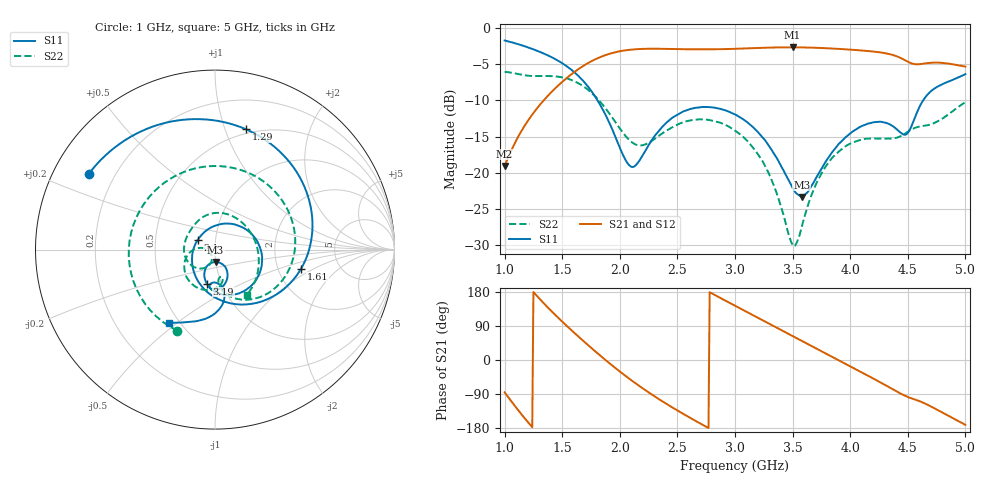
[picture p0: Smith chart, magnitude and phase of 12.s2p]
!Agilent Technologies,N5224A,MY51441093,A.09.90.21
!Agilent N5224A: A.09.90.21
!Date: Wednesday, October 01, 2025 16:39:17
!Correction: S11(Full 2 Port(1,2))
!S21(Full 2 Port(1,2))
!S12(Full 2 Port(1,2))
!S22(Full 2 Port(1,2))
!S2P File: Measurements: S11, S21, S12, S22:
# Hz S  dB  R 50
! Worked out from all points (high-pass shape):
!   401 points, 1 GHz to 5 GHz, reference 50 ohm
!   highest |S21| = -2.67 dB at 3.5 GHz (marker M1); lowest = -19.0 dB at 1 GHz (marker M2)
!   |S21| within 3 dB of the highest: 1.641 GHz to end of sweep
!   lowest |S11| = -23.3 dB at 3.58 GHz (marker M3), VSWR 1.15, Z = 49.8 - j6.83 ohm
!   |S11| at or under -10 dB: 1.807 GHz to 4.633 GHz (2.825 GHz wide, 87.8 % of centre)
!   |S22| runs from -30.1 to -6.1 dB; largest |S21 - S12| = 0.0041
!   S11 on the Smith chart (normalised r, x): 1 GHz: 0.11, +0.27; 1.29 GHz: 0.46, +1.18; 1.61 GHz: 2.69, -0.75; 2.1 GHz: 0.82, +0.09; 3.19 GHz: 0.85, -0.33; 5 GHz: 0.44, -0.47
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1e9  -1.72 149.1  -19.03 -85.3  -19.00 -85.3  -6.06 -114.8
1.13e9  -2.29 116.8  -14.66 -137.1  -14.66 -137.2  -6.41 173.5
1.21e9  -2.72 96.4  -12.62 -166.7  -12.61 -166.7  -6.60 131.9
1.29e9  -3.20 75.6  -10.91 165.9  -10.91 165.8  -6.63 94.4
1.45e9  -4.39 32.7  -8.16 115.9  -8.16 115.9  -6.69 32.9
1.61e9  -6.17 -12.4  -6.02 70.3  -6.02 70.2  -7.38 -14.7
1.67e9  -7.09 -29.9  -5.37 53.8  -5.36 53.8  -7.91 -30.0
1.89e9  -12.44 -100.9  -3.66 -3.6  -3.65 -3.6  -11.38 -72.9
2.1e9  -19.15 149.7  -2.98 -53.4  -2.97 -53.4  -15.72 -82.6
2.34e9  -14.16 39.6  -2.87 -103.4  -2.86 -103.4  -14.87 -76.6
2.67e9  -10.99 -30.5  -2.95 -162.8  -2.93 -162.7  -12.63 -108.5
3e9  -11.93 -80.7  -2.87 143.2  -2.85 143.2  -14.16 -151.0
3.19e9  -14.22 -103.6  -2.76 112.8  -2.74 112.8  -17.22 -174.6
3.5e9  -22.04 -107.4  -2.67 63.2  -2.65 63.1  -29.96 -154.6
3.58e9  -23.32 -87.6  -2.68 50.4  -2.67 50.3  -27.40 -114.4
3.67e9  -21.64 -67.1  -2.71 36.0  -2.70 35.9  -22.82 -107.0
3.99e9  -14.69 -69.6  -2.98 -14.9  -2.95 -15.1  -16.04 -145.6
4.34e9  -13.27 -97.2  -3.60 -72.2  -3.57 -72.5  -15.26 151.8
4.49e9  -14.64 -87.5  -4.57 -96.3  -4.54 -96.5  -14.42 114.8
4.61e9  -10.62 -80.7  -4.98 -109.6  -4.95 -109.9  -13.59 68.7
4.8e9  -7.75 -103.9  -4.82 -138.8  -4.80 -139.0  -12.50 0.6
5e9  -6.37 -122.0  -5.32 -171.1  -5.31 -171.3  -10.23 -54.6
